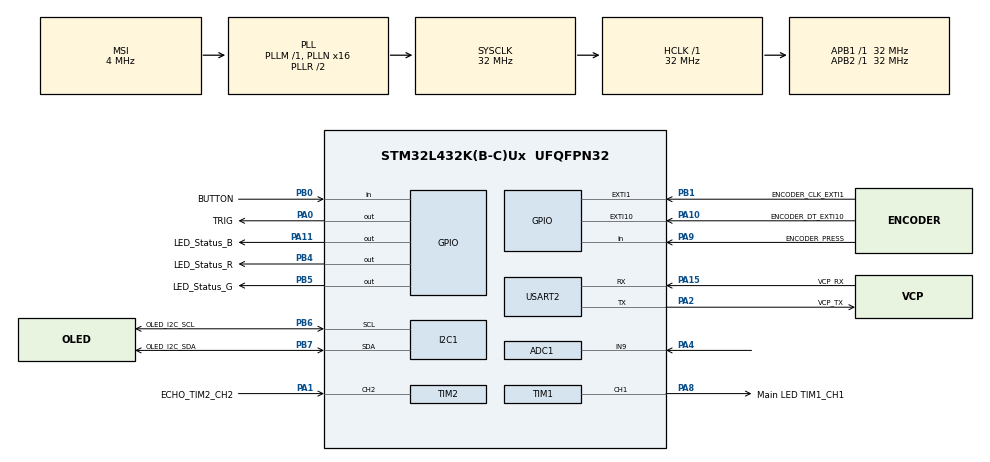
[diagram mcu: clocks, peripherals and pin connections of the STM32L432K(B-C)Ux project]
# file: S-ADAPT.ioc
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ADC1.Channel-0\#ChannelRegularConversion=ADC_CHANNEL_9
ADC1.NbrOfConversionFlag=1
ADC1.OffsetNumber-0\#ChannelRegularConversion=ADC_OFFSET_NONE
ADC1.Rank-0\#ChannelRegularConversion=1
ADC1.SamplingTime-0\#ChannelRegularConversion=ADC_SAMPLETIME_2CYCLES_5
ADC1.master=1
I2C1.Timing=0x00B07CB4
Mcu.Family=STM32L4
Mcu.Name=STM32L432K(B-C)Ux
Mcu.Package=UFQFPN32
NVIC.PriorityGroup=NVIC_PRIORITYGROUP_4
PA0.GPIO_Label=TRIG
PA0.Signal=GPIO_Output
PA1.GPIO_Label=ECHO_TIM2_CH2
PA1.Signal=S_TIM2_CH2
PA10.GPIO_Label=ENCODER_DT_EXTI10
PA10.GPIO_ModeDefaultEXTI=GPIO_MODE_IT_RISING_FALLING
PA10.GPIO_PuPd=GPIO_PULLUP
PA10.Signal=GPXTI10
PA11.GPIO_Label=LED_Status_B
PA11.Signal=GPIO_Output
PA13\ (JTMS-SWDIO).GPIO_Label=SWDIO
PA13\ (JTMS-SWDIO).Mode=Serial_Wire
PA13\ (JTMS-SWDIO).Signal=SYS_JTMS-SWDIO
PA14\ (JTCK-SWCLK).GPIO_Label=SWCLK
PA14\ (JTCK-SWCLK).Mode=Serial_Wire
PA14\ (JTCK-SWCLK).Signal=SYS_JTCK-SWCLK
PA15\ (JTDI).GPIO_Label=VCP_RX
PA15\ (JTDI).Mode=Asynchronous
PA15\ (JTDI).Signal=USART2_RX
PA2.GPIO_Label=VCP_TX
PA2.Mode=Asynchronous
PA2.Signal=USART2_TX
PA4.Signal=ADCx_IN9
PA8.GPIO_Label=Main LED TIM1_CH1
PA8.Signal=S_TIM1_CH1
PA9.GPIO_Label=ENCODER_PRESS
PA9.GPIO_PuPd=GPIO_PULLUP
PA9.Signal=GPIO_Input
PB0.GPIO_Label=BUTTON
PB0.GPIO_PuPd=GPIO_PULLUP
PB0.Signal=GPIO_Input
PB1.GPIO_Label=ENCODER_CLK_EXTI1
PB1.GPIO_ModeDefaultEXTI=GPIO_MODE_IT_RISING_FALLING
PB1.GPIO_PuPd=GPIO_PULLUP
PB1.Signal=GPXTI1
PB4\ (NJTRST).GPIO_Label=LED_Status_R
PB4\ (NJTRST).Signal=GPIO_Output
PB5.GPIO_Label=LED_Status_G
PB5.Signal=GPIO_Output
PB6.GPIO_Label=OLED_I2C_SCL
PB6.GPIO_Pu=GPIO_PULLUP
PB6.Mode=I2C
PB6.Signal=I2C1_SCL
PB7.GPIO_Label=OLED_I2C_SDA
PB7.GPIO_Pu=GPIO_PULLUP
PB7.Mode=I2C
PB7.Signal=I2C1_SDA
PC14-OSC32_IN\ (PC14).Mode=LSE-External-Oscillator
PC14-OSC32_IN\ (PC14).Signal=RCC_OSC32_IN
PC15-OSC32_OUT\ (PC15).Mode=LSE-External-Oscillator
PC15-OSC32_OUT\ (PC15).Signal=RCC_OSC32_OUT
ProjectManager.HeapSize=0x200
ProjectManager.StackSize=0x400
ProjectManager.TargetToolchain=STM32CubeIDE
RCC.ADCFreq_Value=32000000
RCC.AHBFreq_Value=32000000
RCC.APB1Freq_Value=32000000
RCC.APB1TimFreq_Value=32000000
RCC.APB2Freq_Value=32000000
RCC.APB2TimFreq_Value=32000000
RCC.CortexFreq_Value=32000000
RCC.HCLKFreq_Value=32000000
RCC.HSE_VALUE=8000000
RCC.HSI16_VALUE=16000000
RCC.HSI48_VALUE=48000000
RCC.HSI_VALUE=16000000
RCC.MSI_VALUE=4000000
RCC.PLLMUL=RCC_PLLMUL_4
RCC.PLLN=16
RCC.PLLSAI1N=16
RCC.SYSCLKFreq_VALUE=32000000
RCC.SYSCLKSource=RCC_SYSCLKSOURCE_PLLCLK
RCC.USBFreq_Value=32000000
RCC.VCOOutputFreq_Value=64000000
SH.ADCx_IN9.0=ADC1_IN9,IN9-Single-Ended
SH.S_TIM1_CH1.0=TIM1_CH1,PWM Generation1 CH1
SH.S_TIM2_CH2.0=TIM2_CH2,Input_Capture2_from_TI2
TIM1.Channel-PWM\ Generation1\ CH1=TIM_CHANNEL_1
TIM1.Period=999
TIM1.Prescaler=31
TIM2.Channel-Input_Capture2_from_TI2=TIM_CHANNEL_2
TIM2.Prescaler=31
USART2.VirtualMode-Asynchronous=VM_ASYNC
VP_TIM1_VS_ClockSourceINT.Mode=Internal
VP_TIM2_VS_ClockSourceINT.Mode=Internal
board=NUCLEO-L432KC

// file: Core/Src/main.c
/* USER CODE BEGIN Header */
/* USER CODE END Header */
#include "main.h"

/* USER CODE BEGIN Includes */
#include "support/debug_print.h"
#include "app/app.h"
/* USER CODE END Includes */

ADC_HandleTypeDef hadc1;

I2C_HandleTypeDef hi2c1;

TIM_HandleTypeDef htim1;
TIM_HandleTypeDef htim2;

UART_HandleTypeDef huart2;

void SystemClock_Config(void);
static void MX_GPIO_Init(void);
static void MX_USART2_UART_Init(void);
static void MX_TIM2_Init(void);
static void MX_I2C1_Init(void);
static void MX_TIM1_Init(void);
static void MX_ADC1_Init(void);

int main(void)
{

  /* MCU Configuration--------------------------------------------------------*/

  /* Reset of all peripherals, Initializes the Flash interface and the Systick. */
  HAL_Init();

  /* Configure the system clock */
  SystemClock_Config();

  /* Initialize all configured peripherals */
  MX_GPIO_Init();
  MX_USART2_UART_Init();
  MX_TIM2_Init();
  MX_I2C1_Init();
  MX_TIM1_Init();
  MX_ADC1_Init();
  /* USER CODE BEGIN 2 */
  debug_print_init(&huart2);
  debug_print_set_level(DEBUG_PRINT_DEBUG);
  debug_println("Boot start");
  debug_println("App mode");
  {
    app_hw_config_t hw = {
      .ldr_adc = &hadc1,
      .echo_tim = &htim2,
      .echo_channel = TIM_CHANNEL_2,
      .main_led_tim = &htim1,
      .main_led_channel = TIM_CHANNEL_1
    };

    if (app_init(&hw) == 0U)
    {
      debug_logln(DEBUG_PRINT_ERROR, "app init degraded mode");
      app_set_fatal_fault(1U);
      debug_logln(DEBUG_PRINT_ERROR, "safe mode: fatal fault indication active");
    }
  }
  /* USER CODE END 2 */

  /* Infinite loop */
  /* USER CODE BEGIN WHILE */
  while (1)
  {
    app_step();
    HAL_Delay(1);
    /* USER CODE END WHILE */

  }
}

void SystemClock_Config(void)
{
  RCC_OscInitTypeDef RCC_OscInitStruct = {0};
  RCC_ClkInitTypeDef RCC_ClkInitStruct = {0};

  /** Configure the main internal regulator output voltage
  */
  if (HAL_PWREx_ControlVoltageScaling(PWR_REGULATOR_VOLTAGE_SCALE1) != HAL_OK)
  {
    Error_Handler();
  }

  /** Configure LSE Drive Capability
  */
  HAL_PWR_EnableBkUpAccess();
  __HAL_RCC_LSEDRIVE_CONFIG(RCC_LSEDRIVE_LOW);

  /** Initializes the RCC Oscillators according to the specified parameters
  * in the RCC_OscInitTypeDef structure.
  */
  RCC_OscInitStruct.OscillatorType = RCC_OSCILLATORTYPE_LSE|RCC_OSCILLATORTYPE_MSI;
  RCC_OscInitStruct.LSEState = RCC_LSE_ON;
  RCC_OscInitStruct.MSIState = RCC_MSI_ON;
  RCC_OscInitStruct.MSICalibrationValue = 0;
  RCC_OscInitStruct.MSIClockRange = RCC_MSIRANGE_6;
  RCC_OscInitStruct.PLL.PLLState = RCC_PLL_ON;
  RCC_OscInitStruct.PLL.PLLSource = RCC_PLLSOURCE_MSI;
  RCC_OscInitStruct.PLL.PLLM = 1;
  RCC_OscInitStruct.PLL.PLLN = 16;
  RCC_OscInitStruct.PLL.PLLP = RCC_PLLP_DIV7;
  RCC_OscInitStruct.PLL.PLLQ = RCC_PLLQ_DIV2;
  RCC_OscInitStruct.PLL.PLLR = RCC_PLLR_DIV2;
  if (HAL_RCC_OscConfig(&RCC_OscInitStruct) != HAL_OK)
  {
    Error_Handler();
  }

  /** Initializes the CPU, AHB and APB buses clocks
  */
  RCC_ClkInitStruct.ClockType = RCC_CLOCKTYPE_HCLK|RCC_CLOCKTYPE_SYSCLK
                              |RCC_CLOCKTYPE_PCLK1|RCC_CLOCKTYPE_PCLK2;
  RCC_ClkInitStruct.SYSCLKSource = RCC_SYSCLKSOURCE_PLLCLK;
  RCC_ClkInitStruct.AHBCLKDivider = RCC_SYSCLK_DIV1;
  RCC_ClkInitStruct.APB1CLKDivider = RCC_HCLK_DIV1;
  RCC_ClkInitStruct.APB2CLKDivider = RCC_HCLK_DIV1;

  if (HAL_RCC_ClockConfig(&RCC_ClkInitStruct, FLASH_LATENCY_1) != HAL_OK)
  {
    Error_Handler();
  }

  /** Enable MSI Auto calibration
  */
  HAL_RCCEx_EnableMSIPLLMode();
}

static void MX_ADC1_Init(void)
{

  ADC_ChannelConfTypeDef sConfig = {0};

  /** Common config
  */
  hadc1.Instance = ADC1;
  hadc1.Init.ClockPrescaler = ADC_CLOCK_ASYNC_DIV1;
  hadc1.Init.Resolution = ADC_RESOLUTION_12B;
  hadc1.Init.DataAlign = ADC_DATAALIGN_RIGHT;
  hadc1.Init.ScanConvMode = ADC_SCAN_DISABLE;
  hadc1.Init.EOCSelection = ADC_EOC_SINGLE_CONV;
  hadc1.Init.LowPowerAutoWait = DISABLE;
  hadc1.Init.ContinuousConvMode = DISABLE;
  hadc1.Init.NbrOfConversion = 1;
  hadc1.Init.DiscontinuousConvMode = DISABLE;
  hadc1.Init.ExternalTrigConv = ADC_SOFTWARE_START;
  hadc1.Init.ExternalTrigConvEdge = ADC_EXTERNALTRIGCONVEDGE_NONE;
  hadc1.Init.DMAContinuousRequests = DISABLE;
  hadc1.Init.Overrun = ADC_OVR_DATA_PRESERVED;
  hadc1.Init.OversamplingMode = DISABLE;
  if (HAL_ADC_Init(&hadc1) != HAL_OK)
  {
    Error_Handler();
  }

  /** Configure Regular Channel
  */
  sConfig.Channel = ADC_CHANNEL_9;
  sConfig.Rank = ADC_REGULAR_RANK_1;
  sConfig.SamplingTime = ADC_SAMPLETIME_2CYCLES_5;
  sConfig.SingleDiff = ADC_SINGLE_ENDED;
  sConfig.OffsetNumber = ADC_OFFSET_NONE;
  sConfig.Offset = 0;
  if (HAL_ADC_ConfigChannel(&hadc1, &sConfig) != HAL_OK)
  {
    Error_Handler();
  }

}

static void MX_I2C1_Init(void)
{

  hi2c1.Instance = I2C1;
  hi2c1.Init.Timing = 0x00B07CB4;
  hi2c1.Init.OwnAddress1 = 0;
  hi2c1.Init.AddressingMode = I2C_ADDRESSINGMODE_7BIT;
  hi2c1.Init.DualAddressMode = I2C_DUALADDRESS_DISABLE;
  hi2c1.Init.OwnAddress2 = 0;
  hi2c1.Init.OwnAddress2Masks = I2C_OA2_NOMASK;
  hi2c1.Init.GeneralCallMode = I2C_GENERALCALL_DISABLE;
  hi2c1.Init.NoStretchMode = I2C_NOSTRETCH_DISABLE;
  if (HAL_I2C_Init(&hi2c1) != HAL_OK)
  {
    Error_Handler();
  }

  /** Configure Analogue filter
  */
  if (HAL_I2CEx_ConfigAnalogFilter(&hi2c1, I2C_ANALOGFILTER_ENABLE) != HAL_OK)
  {
    Error_Handler();
  }

  /** Configure Digital filter
  */
  if (HAL_I2CEx_ConfigDigitalFilter(&hi2c1, 0) != HAL_OK)
  {
    Error_Handler();
  }

}

static void MX_TIM1_Init(void)
{

  TIM_ClockConfigTypeDef sClockSourceConfig = {0};
  TIM_MasterConfigTypeDef sMasterConfig = {0};
  TIM_OC_InitTypeDef sConfigOC = {0};
  TIM_BreakDeadTimeConfigTypeDef sBreakDeadTimeConfig = {0};

  htim1.Instance = TIM1;
  htim1.Init.Prescaler = 31;
  htim1.Init.CounterMode = TIM_COUNTERMODE_UP;
  htim1.Init.Period = 999;
  htim1.Init.ClockDivision = TIM_CLOCKDIVISION_DIV1;
  htim1.Init.RepetitionCounter = 0;
  htim1.Init.AutoReloadPreload = TIM_AUTORELOAD_PRELOAD_DISABLE;
  if (HAL_TIM_Base_Init(&htim1) != HAL_OK)
  {
    Error_Handler();
  }
  sClockSourceConfig.ClockSource = TIM_CLOCKSOURCE_INTERNAL;
  if (HAL_TIM_ConfigClockSource(&htim1, &sClockSourceConfig) != HAL_OK)
  {
    Error_Handler();
  }
  if (HAL_TIM_PWM_Init(&htim1) != HAL_OK)
  {
    Error_Handler();
  }
  sMasterConfig.MasterOutputTrigger = TIM_TRGO_RESET;
  sMasterConfig.MasterOutputTrigger2 = TIM_TRGO2_RESET;
  sMasterConfig.MasterSlaveMode = TIM_MASTERSLAVEMODE_DISABLE;
  if (HAL_TIMEx_MasterConfigSynchronization(&htim1, &sMasterConfig) != HAL_OK)
  {
    Error_Handler();
  }
  sConfigOC.OCMode = TIM_OCMODE_PWM1;
  sConfigOC.Pulse = 0;
  sConfigOC.OCPolarity = TIM_OCPOLARITY_HIGH;
  sConfigOC.OCNPolarity = TIM_OCNPOLARITY_HIGH;
  sConfigOC.OCFastMode = TIM_OCFAST_DISABLE;
  sConfigOC.OCIdleState = TIM_OCIDLESTATE_RESET;
  sConfigOC.OCNIdleState = TIM_OCNIDLESTATE_RESET;
  if (HAL_TIM_PWM_ConfigChannel(&htim1, &sConfigOC, TIM_CHANNEL_1) != HAL_OK)
  {
    Error_Handler();
  }
  sBreakDeadTimeConfig.OffStateRunMode = TIM_OSSR_DISABLE;
  sBreakDeadTimeConfig.OffStateIDLEMode = TIM_OSSI_DISABLE;
  sBreakDeadTimeConfig.LockLevel = TIM_LOCKLEVEL_OFF;
  sBreakDeadTimeConfig.DeadTime = 0;
  sBreakDeadTimeConfig.BreakState = TIM_BREAK_DISABLE;
  sBreakDeadTimeConfig.BreakPolarity = TIM_BREAKPOLARITY_HIGH;
  sBreakDeadTimeConfig.BreakFilter = 0;
  sBreakDeadTimeConfig.Break2State = TIM_BREAK2_DISABLE;
  sBreakDeadTimeConfig.Break2Polarity = TIM_BREAK2POLARITY_HIGH;
  sBreakDeadTimeConfig.Break2Filter = 0;
  sBreakDeadTimeConfig.AutomaticOutput = TIM_AUTOMATICOUTPUT_DISABLE;
  if (HAL_TIMEx_ConfigBreakDeadTime(&htim1, &sBreakDeadTimeConfig) != HAL_OK)
  {
    Error_Handler();
  }
  HAL_TIM_MspPostInit(&htim1);

}

static void MX_TIM2_Init(void)
{

  TIM_ClockConfigTypeDef sClockSourceConfig = {0};
  TIM_MasterConfigTypeDef sMasterConfig = {0};
  TIM_IC_InitTypeDef sConfigIC = {0};

  htim2.Instance = TIM2;
  htim2.Init.Prescaler = 31;
  htim2.Init.CounterMode = TIM_COUNTERMODE_UP;
  htim2.Init.Period = 4294967295;
  htim2.Init.ClockDivision = TIM_CLOCKDIVISION_DIV1;
  htim2.Init.AutoReloadPreload = TIM_AUTORELOAD_PRELOAD_DISABLE;
  if (HAL_TIM_Base_Init(&htim2) != HAL_OK)
  {
    Error_Handler();
  }
  sClockSourceConfig.ClockSource = TIM_CLOCKSOURCE_INTERNAL;
  if (HAL_TIM_ConfigClockSource(&htim2, &sClockSourceConfig) != HAL_OK)
  {
    Error_Handler();
  }
  if (HAL_TIM_IC_Init(&htim2) != HAL_OK)
  {
    Error_Handler();
  }
  sMasterConfig.MasterOutputTrigger = TIM_TRGO_RESET;
  sMasterConfig.MasterSlaveMode = TIM_MASTERSLAVEMODE_DISABLE;
  if (HAL_TIMEx_MasterConfigSynchronization(&htim2, &sMasterConfig) != HAL_OK)
  {
    Error_Handler();
  }
  sConfigIC.ICPolarity = TIM_INPUTCHANNELPOLARITY_RISING;
  sConfigIC.ICSelection = TIM_ICSELECTION_DIRECTTI;
  sConfigIC.ICPrescaler = TIM_ICPSC_DIV1;
  sConfigIC.ICFilter = 0;
  if (HAL_TIM_IC_ConfigChannel(&htim2, &sConfigIC, TIM_CHANNEL_2) != HAL_OK)
  {
    Error_Handler();
  }
  /* USER CODE BEGIN TIM2_Init 2 */
  // Keep 1 MHz timer tick for delay_us()/ultrasonic timing after CubeMX regen
  __HAL_TIM_SET_PRESCALER(&htim2, 31);
  /* USER CODE END TIM2_Init 2 */

}

static void MX_USART2_UART_Init(void)
{

  huart2.Instance = USART2;
  huart2.Init.BaudRate = 115200;
  huart2.Init.WordLength = UART_WORDLENGTH_8B;
  huart2.Init.StopBits = UART_STOPBITS_1;
  huart2.Init.Parity = UART_PARITY_NONE;
  huart2.Init.Mode = UART_MODE_TX_RX;
  huart2.Init.HwFlowCtl = UART_HWCONTROL_NONE;
  huart2.Init.OverSampling = UART_OVERSAMPLING_16;
  huart2.Init.OneBitSampling = UART_ONE_BIT_SAMPLE_DISABLE;
  huart2.AdvancedInit.AdvFeatureInit = UART_ADVFEATURE_NO_INIT;
  if (HAL_UART_Init(&huart2) != HAL_OK)
  {
    Error_Handler();
  }

}

static void MX_GPIO_Init(void)
{
  GPIO_InitTypeDef GPIO_InitStruct = {0};

  /* GPIO Ports Clock Enable */
  __HAL_RCC_GPIOC_CLK_ENABLE();
  __HAL_RCC_GPIOA_CLK_ENABLE();
  __HAL_RCC_GPIOB_CLK_ENABLE();

  /*Configure GPIO pin Output Level */
  HAL_GPIO_WritePin(GPIOA, TRIG_Pin|LED_Status_B_Pin, GPIO_PIN_RESET);

  /*Configure GPIO pin Output Level */
  HAL_GPIO_WritePin(GPIOB, LED_Status_R_Pin|LED_Status_G_Pin, GPIO_PIN_RESET);

  /*Configure GPIO pins : TRIG_Pin LED_Status_B_Pin */
  GPIO_InitStruct.Pin = TRIG_Pin|LED_Status_B_Pin;
  GPIO_InitStruct.Mode = GPIO_MODE_OUTPUT_PP;
  GPIO_InitStruct.Pull = GPIO_NOPULL;
  GPIO_InitStruct.Speed = GPIO_SPEED_FREQ_LOW;
  HAL_GPIO_Init(GPIOA, &GPIO_InitStruct);

  /*Configure GPIO pin : BUTTON_Pin */
  GPIO_InitStruct.Pin = BUTTON_Pin;
  GPIO_InitStruct.Mode = GPIO_MODE_INPUT;
  GPIO_InitStruct.Pull = GPIO_PULLUP;
  HAL_GPIO_Init(BUTTON_GPIO_Port, &GPIO_InitStruct);

  /*Configure GPIO pin : ENCODER_CLK_EXTI1_Pin */
  GPIO_InitStruct.Pin = ENCODER_CLK_EXTI1_Pin;
  GPIO_InitStruct.Mode = GPIO_MODE_IT_RISING_FALLING;
  GPIO_InitStruct.Pull = GPIO_PULLUP;
  HAL_GPIO_Init(ENCODER_CLK_EXTI1_GPIO_Port, &GPIO_InitStruct);

  /*Configure GPIO pin : ENCODER_PRESS_Pin */
  GPIO_InitStruct.Pin = ENCODER_PRESS_Pin;
  GPIO_InitStruct.Mode = GPIO_MODE_INPUT;
  GPIO_InitStruct.Pull = GPIO_PULLUP;
  HAL_GPIO_Init(ENCODER_PRESS_GPIO_Port, &GPIO_InitStruct);

  /*Configure GPIO pin : ENCODER_DT_EXTI10_Pin */
  GPIO_InitStruct.Pin = ENCODER_DT_EXTI10_Pin;
  GPIO_InitStruct.Mode = GPIO_MODE_IT_RISING_FALLING;
  GPIO_InitStruct.Pull = GPIO_PULLUP;
  HAL_GPIO_Init(ENCODER_DT_EXTI10_GPIO_Port, &GPIO_InitStruct);

  /*Configure GPIO pins : LED_Status_R_Pin LED_Status_G_Pin */
  GPIO_InitStruct.Pin = LED_Status_R_Pin|LED_Status_G_Pin;
  GPIO_InitStruct.Mode = GPIO_MODE_OUTPUT_PP;
  GPIO_InitStruct.Pull = GPIO_NOPULL;
  GPIO_InitStruct.Speed = GPIO_SPEED_FREQ_LOW;
  HAL_GPIO_Init(GPIOB, &GPIO_InitStruct);

  /* USER CODE BEGIN MX_GPIO_Init_2 */
  /* Use EXTI on both encoder channels for quadrature decode. */
  HAL_NVIC_SetPriority(EXTI1_IRQn, 0, 0);
  HAL_NVIC_EnableIRQ(EXTI1_IRQn);
  HAL_NVIC_SetPriority(EXTI15_10_IRQn, 0, 0);
  HAL_NVIC_EnableIRQ(EXTI15_10_IRQn);
  /* USER CODE END MX_GPIO_Init_2 */
}

/* USER CODE BEGIN 4 */
void HAL_GPIO_EXTI_Callback(uint16_t GPIO_Pin)
{
  if ((GPIO_Pin == ENCODER_CLK_EXTI1_Pin) || (GPIO_Pin == ENCODER_DT_EXTI10_Pin))
  {
    encoder_input_on_clk_edge_isr();
  }
}
/* USER CODE END 4 */

void Error_Handler(void)
{
}
